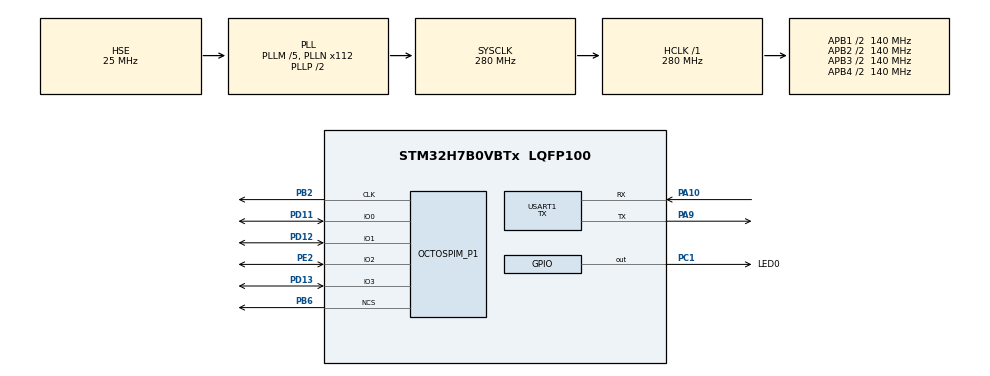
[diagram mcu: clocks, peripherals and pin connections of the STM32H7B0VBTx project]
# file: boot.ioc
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CORTEX_M7.AccessPermission_S-Cortex_Memory_Protection_Unit_Region1_Settings_S=MPU_REGION_PRIV_RO
CORTEX_M7.AccessPermission_S-Cortex_Memory_Protection_Unit_Region2_Settings_S=MPU_REGION_FULL_ACCESS
CORTEX_M7.BaseAddress_S-Cortex_Memory_Protection_Unit_Region1_Settings_S=0x08000000
CORTEX_M7.BaseAddress_S-Cortex_Memory_Protection_Unit_Region2_Settings_S=0x90000000
CORTEX_M7.Enable_S-Cortex_Memory_Protection_Unit_Region1_Settings_S=MPU_REGION_ENABLE
CORTEX_M7.Enable_S-Cortex_Memory_Protection_Unit_Region2_Settings_S=MPU_REGION_ENABLE
CORTEX_M7.IsCacheable_S-Cortex_Memory_Protection_Unit_Region1_Settings_S=MPU_ACCESS_CACHEABLE
CORTEX_M7.Number_S-Cortex_Memory_Protection_Unit_Region2_Settings_S=MPU_REGION_NUMBER2
CORTEX_M7.Size_S-Cortex_Memory_Protection_Unit_Region1_Settings_S=MPU_REGION_SIZE_128KB
CORTEX_M7.Size_S-Cortex_Memory_Protection_Unit_Region2_Settings_S=MPU_REGION_SIZE_8MB
CORTEX_M7.TypeExtField_S-Cortex_Memory_Protection_Unit_Region1_Settings_S=MPU_TEX_LEVEL1
CORTEX_M7.TypeExtField_S-Cortex_Memory_Protection_Unit_Region2_Settings_S=MPU_TEX_LEVEL1
CORTEX_M7.default_mode_Activation=1
Mcu.Family=STM32H7
Mcu.Name=STM32H7B0VBTx
Mcu.Package=LQFP100
NVIC.PriorityGroup=NVIC_PRIORITYGROUP_4
OCTOSPI1.ClockMode=HAL_OSPI_CLOCK_MODE_3
OCTOSPI1.ClockPrescaler=2
OCTOSPI1.DeviceSize=23
OCTOSPI1.FifoThreshold=8
OCTOSPI1.SampleShifting=HAL_OSPI_SAMPLE_SHIFTING_HALFCYCLE
PA10.Mode=Asynchronous
PA10.Signal=USART1_RX
PA13.Mode=Serial_Wire
PA13.Signal=DEBUG_JTMS-SWDIO
PA14.Mode=Serial_Wire
PA14.Signal=DEBUG_JTCK-SWCLK
PA9.Mode=Asynchronous
PA9.Signal=USART1_TX
PB2.Mode=O1_P1_CLK
PB2.Signal=OCTOSPIM_P1_CLK
PB6.Mode=OCTOSPI1_Port1_NCS
PB6.Signal=OCTOSPIM_P1_NCS
PC1.GPIO_Label=LED0
PC1.GPIO_Speed=GPIO_SPEED_FREQ_VERY_HIGH
PC1.PinState=GPIO_PIN_SET
PC1.Signal=GPIO_Output
PC14-OSC32_IN.Mode=LSE-External-Oscillator
PC14-OSC32_IN.Signal=RCC_OSC32_IN
PC15-OSC32_OUT.Mode=LSE-External-Oscillator
PC15-OSC32_OUT.Signal=RCC_OSC32_OUT
PD11.Mode=OCTOSPI1_IOL_Port1L
PD11.Signal=OCTOSPIM_P1_IO0
PD12.Mode=OCTOSPI1_IOL_Port1L
PD12.Signal=OCTOSPIM_P1_IO1
PD13.Mode=OCTOSPI1_IOL_Port1L
PD13.Signal=OCTOSPIM_P1_IO3
PE2.Mode=OCTOSPI1_IOL_Port1L
PE2.Signal=OCTOSPIM_P1_IO2
PH0-OSC_IN.Mode=HSE-External-Oscillator
PH0-OSC_IN.Signal=RCC_OSC_IN
PH1-OSC_OUT.Mode=HSE-External-Oscillator
PH1-OSC_OUT.Signal=RCC_OSC_OUT
ProjectManager.HeapSize=0x800
ProjectManager.StackSize=0x1000
ProjectManager.TargetToolchain=CMake
RCC.ADCFreq_Value=280000000
RCC.APB1Freq_Value=140000000
RCC.APB2Freq_Value=140000000
RCC.APB3Freq_Value=140000000
RCC.APB4Freq_Value=140000000
RCC.CDPPRE=RCC_APB3_DIV2
RCC.CDPPRE1=RCC_APB1_DIV2
RCC.CDPPRE2=RCC_APB2_DIV2
RCC.CortexFreq_Value=280000000
RCC.DIVM1=5
RCC.DIVM2=5
RCC.DIVM3=25
RCC.DIVN1=112
RCC.DIVN2=112
RCC.DIVN3=330
RCC.HCLKFreq_Value=280000000
RCC.HSE_VALUE=25000000
RCC.PLLSourceVirtual=RCC_PLLSOURCE_HSE
RCC.SRDPPRE=RCC_APB4_DIV2
RCC.SYSCLKFreq_VALUE=280000000
RCC.SYSCLKSource=RCC_SYSCLKSOURCE_PLLCLK
RCC.USBFreq_Value=280000000
USART1.Mode=MODE_TX
USART1.VirtualMode-Asynchronous=VM_ASYNC
VP_MEMORYMAP_VS_MEMORYMAP.Mode=CurAppReg
VP_OCTOSPI1_VS_octo.Mode=octo_mode
board=custom

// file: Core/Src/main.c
/* USER CODE BEGIN Header */
/**
  ******************************************************************************
  * @file           : main.c
  * @brief          : Main program body
  ******************************************************************************
  * @attention
  *
  * Copyright (c) 2026 STMicroelectronics.
  * All rights reserved.
  *
  * This software is licensed under terms that can be found in the LICENSE file
  * in the root directory of this software component.
  * If no LICENSE file comes with this software, it is provided AS-IS.
  *
  ******************************************************************************
  */
/* USER CODE END Header */
#include "main.h"
#include "octospi.h"
#include "usart.h"
#include "gpio.h"

/* USER CODE BEGIN Includes */
#include "ext_flash.h"
/* USER CODE END Includes */

/* USER CODE BEGIN PTD */
typedef void (*pFunction)(void);
pFunction JumpToApplication;
/* USER CODE END PTD */

/* USER CODE BEGIN PD */
#define BOOT_DEBUG_ENABLE               1

#if BOOT_DEBUG_ENABLE
  #define BOOT_DEBUG_STR(message)      usart1_write_str(message)
  #define BOOT_DEBUG_HEX32(prefix, value)       \
    do {                                       \
      usart1_write_str(prefix);              \
      usart1_write_hex32((uint32_t)(value)); \
      usart1_write_str("\r\n");             \
    } while (0)
#else
  #define BOOT_DEBUG_STR(message)      ((void)(message))
  #define BOOT_DEBUG_HEX32(prefix, value)       \
    do {                                       \
      (void)(prefix);                        \
      (void)(value);                         \
    } while (0)
#endif

#define EXT_FLASH_START_ADDRESS           0x90000000
/* USER CODE END PD */

void SystemClock_Config(void);
static void MPU_Config(void);

/* USER CODE BEGIN 0 */
// __attribute__((section(".EXT_FLASH"))) uint8_t ext_flash_data[] = {8,7,6,5,4,3,2,1};
// uint8_t my_variable[8] __attribute__((section(".EXT_FLASH"))) = {1,2,3,4,5,6,7,8};
/* USER CODE END 0 */

int main(void)
{

  /* USER CODE BEGIN 1 */
  static uint32_t start_tick = 0;
  uint32_t ext_flash_id = 0;
  uint32_t ext_flash_mapped_ok = 0;
  uint32_t blink_time = 500;
  /* USER CODE END 1 */

  /* MPU Configuration--------------------------------------------------------*/
  MPU_Config();

  /* MCU Configuration--------------------------------------------------------*/

  /* Reset of all peripherals, Initializes the Flash interface and the Systick. */
  HAL_Init();

  /* Configure the system clock */
  SystemClock_Config();

  /* Initialize all configured peripherals */
  MX_GPIO_Init();
  MX_OCTOSPI1_Init();
#if BOOT_DEBUG_ENABLE
  MX_USART1_UART_Init();
#endif
  /* USER CODE BEGIN 2 */
  BOOT_DEBUG_STR("STM32H7B0 boot\r\n");
  BOOT_DEBUG_STR("Compiled at " __DATE__ " " __TIME__ "\r\n");

  ext_flash_id = OSPI_Get_FlashID();
  if(ext_flash_id != 0)
  {
    // BOOT_DEBUG("External Flash ID: 0x%08lX\r\n", ext_flash_id);
    ext_flash_mapped_ok = OSPI_ExtFlash_Mapped();
    /* map ok = 0 */
    if(ext_flash_mapped_ok == 0)
    {
      // BOOT_DEBUG("External Flash mapped to 0x90000000\r\n");
      blink_time = 100;
    }
    else
    {
      BOOT_DEBUG_STR("External Flash mapping failed\r\n");
    }
  }
  /* USER CODE END 2 */

  /* Infinite loop */
  /* USER CODE BEGIN WHILE */
#if 1
  /* Cache disable*/
  HAL_MPU_Disable();

  /* Disable SysTick */
  SysTick->CTRL = 0;
	SysTick->LOAD = 0;
	SysTick->VAL = 0;

  /* Get applicatuon jump address */
  JumpToApplication = (pFunction) (*((uint32_t *)(EXT_FLASH_START_ADDRESS+4)));

  // BOOT_DEBUG("Set MSP to 0x%08lX\r\n", *(uint32_t *)EXT_FLASH_START_ADDRESS);
  BOOT_DEBUG_HEX32("Jump to application at ", JumpToApplication);
  __set_MSP(*(uint32_t *)EXT_FLASH_START_ADDRESS);

  JumpToApplication();

#endif
  // OSPI_W25Qxx_Test();
  start_tick = HAL_GetTick();
  while (1)
  {
    /* USER CODE END WHILE */

    /* USER CODE BEGIN 3 */
    if(HAL_GetTick() - start_tick >= blink_time)
    {
      start_tick = HAL_GetTick();
      HAL_GPIO_TogglePin(LED0_GPIO_Port, LED0_Pin);
    }
  }
  /* USER CODE END 3 */
}

void SystemClock_Config(void)
{
  RCC_OscInitTypeDef RCC_OscInitStruct = {0};
  RCC_ClkInitTypeDef RCC_ClkInitStruct = {0};

  /*AXI clock gating */
  RCC->CKGAENR = 0xE003FFFF;

  /** Supply configuration update enable
  */
  HAL_PWREx_ConfigSupply(PWR_LDO_SUPPLY);

  /** Configure the main internal regulator output voltage
  */
  __HAL_PWR_VOLTAGESCALING_CONFIG(PWR_REGULATOR_VOLTAGE_SCALE0);

  while(!__HAL_PWR_GET_FLAG(PWR_FLAG_VOSRDY)) {}

  /** Initializes the RCC Oscillators according to the specified parameters
  * in the RCC_OscInitTypeDef structure.
  */
  RCC_OscInitStruct.OscillatorType = RCC_OSCILLATORTYPE_HSE;
  RCC_OscInitStruct.HSEState = RCC_HSE_ON;
  RCC_OscInitStruct.PLL.PLLState = RCC_PLL_ON;
  RCC_OscInitStruct.PLL.PLLSource = RCC_PLLSOURCE_HSE;
  RCC_OscInitStruct.PLL.PLLM = 5;
  RCC_OscInitStruct.PLL.PLLN = 112;
  RCC_OscInitStruct.PLL.PLLP = 2;
  RCC_OscInitStruct.PLL.PLLQ = 2;
  RCC_OscInitStruct.PLL.PLLR = 2;
  RCC_OscInitStruct.PLL.PLLRGE = RCC_PLL1VCIRANGE_2;
  RCC_OscInitStruct.PLL.PLLVCOSEL = RCC_PLL1VCOWIDE;
  RCC_OscInitStruct.PLL.PLLFRACN = 0;
  if (HAL_RCC_OscConfig(&RCC_OscInitStruct) != HAL_OK)
  {
    Error_Handler();
  }

  /** Initializes the CPU, AHB and APB buses clocks
  */
  RCC_ClkInitStruct.ClockType = RCC_CLOCKTYPE_HCLK|RCC_CLOCKTYPE_SYSCLK
                              |RCC_CLOCKTYPE_PCLK1|RCC_CLOCKTYPE_PCLK2
                              |RCC_CLOCKTYPE_D3PCLK1|RCC_CLOCKTYPE_D1PCLK1;
  RCC_ClkInitStruct.SYSCLKSource = RCC_SYSCLKSOURCE_PLLCLK;
  RCC_ClkInitStruct.SYSCLKDivider = RCC_SYSCLK_DIV1;
  RCC_ClkInitStruct.AHBCLKDivider = RCC_HCLK_DIV1;
  RCC_ClkInitStruct.APB3CLKDivider = RCC_APB3_DIV2;
  RCC_ClkInitStruct.APB1CLKDivider = RCC_APB1_DIV2;
  RCC_ClkInitStruct.APB2CLKDivider = RCC_APB2_DIV2;
  RCC_ClkInitStruct.APB4CLKDivider = RCC_APB4_DIV2;

  if (HAL_RCC_ClockConfig(&RCC_ClkInitStruct, FLASH_LATENCY_6) != HAL_OK)
  {
    Error_Handler();
  }
}

 /* MPU Configuration */

void MPU_Config(void)
{
  MPU_Region_InitTypeDef MPU_InitStruct = {0};

  /* Disables the MPU */
  HAL_MPU_Disable();

  /** Initializes and configures the Region and the memory to be protected
  */
  MPU_InitStruct.Enable = MPU_REGION_ENABLE;
  MPU_InitStruct.Number = MPU_REGION_NUMBER0;
  MPU_InitStruct.BaseAddress = 0x0;
  MPU_InitStruct.Size = MPU_REGION_SIZE_4GB;
  MPU_InitStruct.SubRegionDisable = 0x87;
  MPU_InitStruct.TypeExtField = MPU_TEX_LEVEL0;
  MPU_InitStruct.AccessPermission = MPU_REGION_NO_ACCESS;
  MPU_InitStruct.DisableExec = MPU_INSTRUCTION_ACCESS_DISABLE;
  MPU_InitStruct.IsShareable = MPU_ACCESS_SHAREABLE;
  MPU_InitStruct.IsCacheable = MPU_ACCESS_NOT_CACHEABLE;
  MPU_InitStruct.IsBufferable = MPU_ACCESS_NOT_BUFFERABLE;

  HAL_MPU_ConfigRegion(&MPU_InitStruct);

  /** Initializes and configures the Region and the memory to be protected
  */
  MPU_InitStruct.Number = MPU_REGION_NUMBER1;
  MPU_InitStruct.BaseAddress = 0x08000000;
  MPU_InitStruct.Size = MPU_REGION_SIZE_128KB;
  MPU_InitStruct.SubRegionDisable = 0x0;
  MPU_InitStruct.TypeExtField = MPU_TEX_LEVEL1;
  MPU_InitStruct.AccessPermission = MPU_REGION_PRIV_RO;
  MPU_InitStruct.DisableExec = MPU_INSTRUCTION_ACCESS_ENABLE;
  MPU_InitStruct.IsShareable = MPU_ACCESS_NOT_SHAREABLE;
  MPU_InitStruct.IsCacheable = MPU_ACCESS_CACHEABLE;

  HAL_MPU_ConfigRegion(&MPU_InitStruct);

  /** Initializes and configures the Region and the memory to be protected
  */
  MPU_InitStruct.Number = MPU_REGION_NUMBER2;
  MPU_InitStruct.BaseAddress = 0x90000000;
  MPU_InitStruct.Size = MPU_REGION_SIZE_8MB;
  MPU_InitStruct.AccessPermission = MPU_REGION_FULL_ACCESS;
  MPU_InitStruct.IsCacheable = MPU_ACCESS_NOT_CACHEABLE;

  HAL_MPU_ConfigRegion(&MPU_InitStruct);
  /* Enables the MPU */
  HAL_MPU_Enable(MPU_PRIVILEGED_DEFAULT);

}

void Error_Handler(void)
{
  __disable_irq();
  while (1)
  {
  }
}
